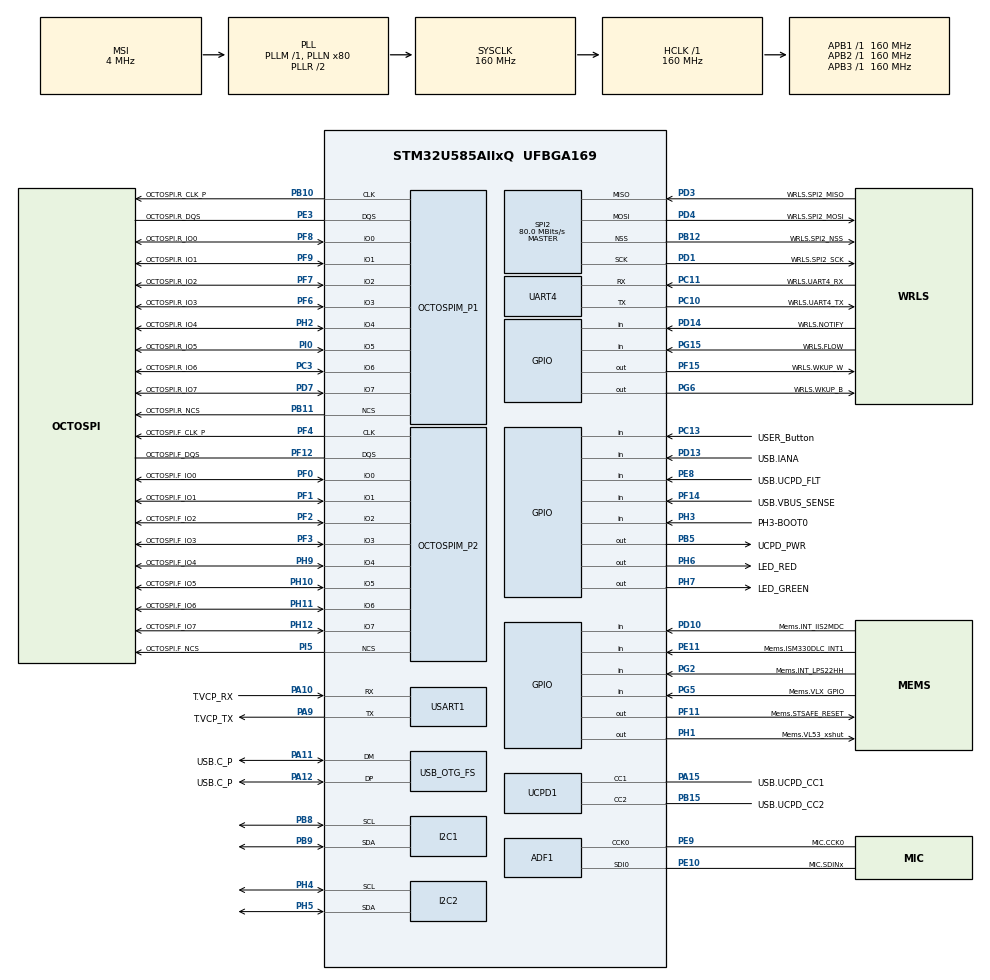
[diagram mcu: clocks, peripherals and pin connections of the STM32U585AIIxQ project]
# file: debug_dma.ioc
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CORTEX_M33_NS.userName=CORTEX_M33
GPDMA1.DESTINC_GPDMACH0=DMA_DINC_INCREMENTED
GPDMA1.SRCINC_GPDMACH0=DMA_SINC_INCREMENTED
I2C1.Timing=0x30909DEC
I2C2.Timing=0x30909DEC
Mcu.Family=STM32U5
Mcu.Name=STM32U585AIIxQ
Mcu.Package=UFBGA169
NVIC.GPDMA1_Channel0_IRQn=true\:0\:0\:false\:false\:true\:true\:true\:true
NVIC.PriorityGroup=NVIC_PRIORITYGROUP_4
OCTOSPI1.ChipSelectBoundary=10
OCTOSPI1.ClockPrescaler=2
OCTOSPI1.DelayBlockBypass=HAL_OSPI_DELAY_BLOCK_USED
OCTOSPI1.DelayHoldQuarterCycle=HAL_OSPI_DHQC_ENABLE
OCTOSPI1.DeviceSize=23
OCTOSPI1.MemoryType=HAL_OSPI_MEMTYPE_APMEMORY
OCTOSPI1.Refresh=100
OCTOSPI2.ChipSelectBoundary=0
OCTOSPI2.ChipSelectHighTime=2
OCTOSPI2.ClockPrescaler=4
OCTOSPI2.DelayBlockBypass=HAL_OSPI_DELAY_BLOCK_USED
OCTOSPI2.DelayHoldQuarterCycle=HAL_OSPI_DHQC_ENABLE
OCTOSPI2.DeviceSize=26
OCTOSPI2.FifoThreshold=4
OCTOSPI2.MemoryType=HAL_OSPI_MEMTYPE_MACRONIX
PA10.GPIO_Label=T.VCP_RX
PA10.Mode=Asynchronous
PA10.Signal=USART1_RX
PA11.GPIO_Label=USB.C_P
PA11.Mode=Device_Only
PA11.Signal=USB_OTG_FS_DM
PA12.GPIO_Label=USB.C_P
PA12.Mode=Device_Only
PA12.Signal=USB_OTG_FS_DP
PA13\ (JTMS/SWDIO).GPIO_Label=T.SWDIO
PA13\ (JTMS/SWDIO).Mode=Trace_Asynchronous_SW
PA13\ (JTMS/SWDIO).Signal=DEBUG_JTMS-SWDIO
PA14\ (JTCK/SWCLK).GPIO_Label=T.SWCLK
PA14\ (JTCK/SWCLK).Mode=Trace_Asynchronous_SW
PA14\ (JTCK/SWCLK).Signal=DEBUG_JTCK-SWCLK
PA15\ (JTDI).GPIO_Label=USB.UCPD_CC1
PA15\ (JTDI).Mode=Dual_Role_AllSignals
PA15\ (JTDI).Signal=UCPD1_CC1
PA9.GPIO_Label=T.VCP_TX
PA9.Mode=Asynchronous
PA9.Signal=USART1_TX
PB1.GPIO_Label=MIC.SDIN0
PB1.Signal=MDF1_SDI0
PB10.GPIO_Label=OCTOSPI.R_CLK_P
PB10.Mode=O1_P1_CLK
PB10.Signal=OCTOSPIM_P1_CLK
PB11.GPIO_Label=OCTOSPI.R_NCS
PB11.Mode=OCTOSPI1_Port1_NCS
PB11.Signal=OCTOSPIM_P1_NCS
PB12.GPIO_Label=WRLS.SPI2_NSS
PB12.Mode=NSS_Signal_Hard_Output
PB12.Signal=SPI2_NSS
PB15.GPIO_Label=USB.UCPD_CC2
PB15.Mode=Dual_Role_AllSignals
PB15.Signal=UCPD1_CC2
PB3\ (JTDO/TRACESWO).GPIO_Label=T.SWO
PB3\ (JTDO/TRACESWO).Mode=Trace_Asynchronous_SW
PB3\ (JTDO/TRACESWO).Signal=DEBUG_JTDO-SWO
PB5.GPIO_Label=UCPD_PWR
PB5.Signal=GPIO_Output
PB8.Mode=I2C
PB8.Signal=I2C1_SCL
PB9.Mode=I2C
PB9.Signal=I2C1_SDA
PC10.GPIO_Label=WRLS.UART4_TX
PC10.Mode=Asynchronous
PC10.Signal=UART4_TX
PC11.GPIO_Label=WRLS.UART4_RX
PC11.Mode=Asynchronous
PC11.Signal=UART4_RX
PC13.GPIO_Label=USER_Button
PC13.Signal=GPIO_Input
PC14-OSC32_IN\ (PC14).GPIO_Label=PC14-OSC32_IN
PC14-OSC32_IN\ (PC14).Mode=LSE-External-Oscillator
PC14-OSC32_IN\ (PC14).Signal=RCC_OSC32_IN
PC15-OSC32_OUT\ (PC15).GPIO_Label=PC15-OSC32_OUT
PC15-OSC32_OUT\ (PC15).Mode=LSE-External-Oscillator
PC15-OSC32_OUT\ (PC15).Signal=RCC_OSC32_OUT
PC3.GPIO_Label=OCTOSPI.R_IO6
PC3.Mode=OCTOSPI1_IOH_Port1H
PC3.Signal=OCTOSPIM_P1_IO6
PD1.GPIO_Label=WRLS.SPI2_SCK
PD1.Mode=Full_Duplex_Master
PD1.Signal=SPI2_SCK
PD10.GPIO_Label=Mems.INT_IIS2MDC
PD10.Signal=GPIO_Input
PD13.GPIO_Label=USB.IANA
PD13.Signal=GPIO_Input
PD14.GPIO_Label=WRLS.NOTIFY
PD14.Signal=GPIO_Input
PD3.GPIO_Label=WRLS.SPI2_MISO
PD3.Mode=Full_Duplex_Master
PD3.Signal=SPI2_MISO
PD4.GPIO_Label=WRLS.SPI2_MOSI
PD4.Mode=Full_Duplex_Master
PD4.Signal=SPI2_MOSI
PD7.GPIO_Label=OCTOSPI.R_IO7
PD7.Mode=OCTOSPI1_IOH_Port1H
PD7.Signal=OCTOSPIM_P1_IO7
PE10.GPIO_Label=MIC.SDINx
PE10.Mode=MOD_ADF_CCK
PE10.Signal=ADF1_SDI0
PE11.GPIO_Label=Mems.ISM330DLC_INT1
PE11.Signal=GPIO_Input
PE3.GPIO_Label=OCTOSPI.R_DQS
PE3.Mode=OCTOSPI1_Port1_DQS
PE3.Signal=OCTOSPIM_P1_DQS
PE8.GPIO_Label=USB.UCPD_FLT
PE8.Signal=GPIO_Input
PE9.GPIO_Label=MIC.CCK0
PE9.Mode=MOD_MDF_CCK0
PE9.Signal=ADF1_CCK0
PF0.GPIO_Label=OCTOSPI.F_IO0
PF0.Mode=OCTOSPI2_IOL_Port2L
PF0.Signal=OCTOSPIM_P2_IO0
PF1.GPIO_Label=OCTOSPI.F_IO1
PF1.Mode=OCTOSPI2_IOL_Port2L
PF1.Signal=OCTOSPIM_P2_IO1
PF10.GPIO_Label=MIC.CCK1
PF10.Signal=MDF1_CCK1
PF11.GPIO_Label=Mems.STSAFE_RESET
PF11.Signal=GPIO_Output
PF12.GPIO_Label=OCTOSPI.F_DQS
PF12.Mode=OCTOSPI2_Port2_DQS
PF12.Signal=OCTOSPIM_P2_DQS
PF14.GPIO_Label=USB.VBUS_SENSE
PF14.Signal=GPIO_Input
PF15.GPIO_Label=WRLS.WKUP_W
PF15.Signal=GPIO_Output
PF2.GPIO_Label=OCTOSPI.F_IO2
PF2.Mode=OCTOSPI2_IOL_Port2L
PF2.Signal=OCTOSPIM_P2_IO2
PF3.GPIO_Label=OCTOSPI.F_IO3
PF3.Mode=OCTOSPI2_IOL_Port2L
PF3.Signal=OCTOSPIM_P2_IO3
PF4.GPIO_Label=OCTOSPI.F_CLK_P
PF4.Mode=O2_P2_CLK
PF4.Signal=OCTOSPIM_P2_CLK
PF6.GPIO_Label=OCTOSPI.R_IO3
PF6.Mode=OCTOSPI1_IOL_Port1L
PF6.Signal=OCTOSPIM_P1_IO3
PF7.GPIO_Label=OCTOSPI.R_IO2
PF7.Mode=OCTOSPI1_IOL_Port1L
PF7.Signal=OCTOSPIM_P1_IO2
PF8.GPIO_Label=OCTOSPI.R_IO0
PF8.Mode=OCTOSPI1_IOL_Port1L
PF8.Signal=OCTOSPIM_P1_IO0
PF9.GPIO_Label=OCTOSPI.R_IO1
PF9.Mode=OCTOSPI1_IOL_Port1L
PF9.Signal=OCTOSPIM_P1_IO1
PG15.GPIO_Label=WRLS.FLOW
PG15.Signal=GPIO_Input
PG2.GPIO_Label=Mems.INT_LPS22HH
PG2.Signal=GPIO_Input
PG5.GPIO_Label=Mems.VLX_GPIO
PG5.Signal=GPIO_Input
PG6.GPIO_Label=WRLS.WKUP_B
PG6.Signal=GPIO_Output
PH1-OSC_OUT\ (PH1).GPIO_Label=Mems.VL53_xshut
PH1-OSC_OUT\ (PH1).Signal=GPIO_Output
PH10.GPIO_Label=OCTOSPI.F_IO5
PH10.Mode=OCTOSPI2_IOH_Port2H
PH10.Signal=OCTOSPIM_P2_IO5
PH11.GPIO_Label=OCTOSPI.F_IO6
PH11.Mode=OCTOSPI2_IOH_Port2H
PH11.Signal=OCTOSPIM_P2_IO6
PH12.GPIO_Label=OCTOSPI.F_IO7
PH12.Mode=OCTOSPI2_IOH_Port2H
PH12.Signal=OCTOSPIM_P2_IO7
PH2.GPIO_Label=OCTOSPI.R_IO4
PH2.Mode=OCTOSPI1_IOH_Port1H
PH2.Signal=OCTOSPIM_P1_IO4
PH3-BOOT0.GPIO_Label=PH3-BOOT0
PH3-BOOT0.Signal=GPIO_Input
PH4.Mode=I2C
PH4.Signal=I2C2_SCL
PH5.Mode=I2C
PH5.Signal=I2C2_SDA
PH6.GPIO_Label=LED_RED
PH6.Signal=GPIO_Output
PH7.GPIO_Label=LED_GREEN
PH7.Signal=GPIO_Output
PH9.GPIO_Label=OCTOSPI.F_IO4
PH9.Mode=OCTOSPI2_IOH_Port2H
PH9.Signal=OCTOSPIM_P2_IO4
PI0.GPIO_Label=OCTOSPI.R_IO5
PI0.Mode=OCTOSPI1_IOH_Port1H
PI0.Signal=OCTOSPIM_P1_IO5
PI5.GPIO_Label=OCTOSPI.F_NCS
PI5.Mode=OCTOSPI2_Port2_NCS
PI5.Signal=OCTOSPIM_P2_NCS
PWR.PowerMode=PWR_SMPS_SUPPLY
ProjectManager.HeapSize=0x200
ProjectManager.StackSize=0x400
ProjectManager.TargetToolchain=CMake
RCC.ADCFreq_Value=16000000
RCC.AHBFreq_Value=160000000
RCC.APB1Freq_Value=160000000
RCC.APB1TimFreq_Value=160000000
RCC.APB2Freq_Value=160000000
RCC.APB2TimFreq_Value=160000000
RCC.APB3Freq_Value=160000000
RCC.CortexFreq_Value=160000000
RCC.DACCLockSelectionVirtual=RCC_DAC1CLKSOURCE_LSI
RCC.EPOD_VALUE=4000000
RCC.HCLKFreq_Value=160000000
RCC.HSE_VALUE=16000000
RCC.HSI48_VALUE=48000000
RCC.HSI_VALUE=16000000
RCC.LSIDIV_VALUE=32000
RCC.MSI_VALUE=4000000
RCC.PLLN=80
RCC.SYSCLKFreq_VALUE=160000000
RCC.SYSCLKSource=RCC_SYSCLKSOURCE_PLLCLK
RCC.USBFreq_Value=48000000
RCC.VCOOutputFreq_Value=320000000
SPI2.CalculateBaudRate=80.0 MBits/s
SPI2.Direction=SPI_DIRECTION_2LINES
SPI2.Mode=SPI_MODE_MASTER
SPI2.VirtualNSS=VM_NSSHARD
SPI2.VirtualType=VM_MASTER
USART1.VirtualMode-Asynchronous=VM_ASYNC
USB_OTG_FS.VirtualMode=Device_Only
VP_GPDMA1_VS_GPDMACH0.Mode=SIMPLEREQUEST_GPDMACH0
VP_ICACHE_VS_ICACHE.Mode=DirectMappedCache
VP_LPBAMQUEUE_VS_QUEUE.Mode=QUEUEMODE
VP_LPBAM_VS_SIG1.Mode=SmartRun
VP_LPBAM_VS_SIG4.Mode=LPDMA1
VP_MEMORYMAP_VS_MEMORYMAP.Mode=CurAppReg
VP_OCTOSPI1_VS_octo.Mode=octo_mode
VP_OCTOSPI2_VS_octo.Mode=octo_mode
VP_PWR_VS_DBSignals.Mode=DisableDeadBatterySignals
VP_PWR_VS_LPOM.Mode=PowerOptimisation
VP_PWR_VS_SECSignals.Mode=Security/Privilege
board=B-U585I-IOT02A

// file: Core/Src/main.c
/* USER CODE BEGIN Header */
/**
  ******************************************************************************
  * @file           : main.c
  * @brief          : Main program body
  ******************************************************************************
  * @attention
  *
  * Copyright (c) 2026 STMicroelectronics.
  * All rights reserved.
  *
  * This software is licensed under terms that can be found in the LICENSE file
  * in the root directory of this software component.
  * If no LICENSE file comes with this software, it is provided AS-IS.
  *
  ******************************************************************************
  */
/* USER CODE END Header */
#include "main.h"
#include "stm32u5xx_hal_dma.h"

/* USER CODE BEGIN Includes */
#include <string.h>
#include <stdint.h>
#include <stdio.h>
/* USER CODE END Includes */

MDF_HandleTypeDef AdfHandle0;
MDF_FilterConfigTypeDef AdfFilterConfig0;

DMA_HandleTypeDef handle_GPDMA1_Channel0;

I2C_HandleTypeDef hi2c1;
I2C_HandleTypeDef hi2c2;

OSPI_HandleTypeDef hospi1;
OSPI_HandleTypeDef hospi2;

SPI_HandleTypeDef hspi2;

UART_HandleTypeDef huart4;
UART_HandleTypeDef huart1;

PCD_HandleTypeDef hpcd_USB_OTG_FS;

/* USER CODE BEGIN PV */
static volatile uint8_t dma_done = 0;
static char internal_data[] = "CODEADBEEF";

typedef struct {
    char text[11]; // Enough space for internal_data and temrinating null byte
    uint32_t checksum;
} Record;

static Record rec;
static char formatted[64];

/* USER CODE END PV */

void SystemClock_Config(void);
static void SystemPower_Config(void);
static void MX_GPIO_Init(void);
static void MX_GPDMA1_Init(void);
static void MX_ADF1_Init(void);
static void MX_I2C1_Init(void);
static void MX_I2C2_Init(void);
static void MX_ICACHE_Init(void);
static void MX_OCTOSPI1_Init(void);
static void MX_OCTOSPI2_Init(void);
static void MX_SPI2_Init(void);
static void MX_UART4_Init(void);
static void MX_USART1_UART_Init(void);
static void MX_UCPD1_Init(void);
static void MX_USB_OTG_FS_PCD_Init(void);
/* USER CODE BEGIN PFP */
static void XferCpltCallback(DMA_HandleTypeDef *hdma);
/* USER CODE END PFP */

/* USER CODE BEGIN 0 */

/* Because we are safety conscious we want to verify that we copied the correct string
*/
static uint32_t checksum_string(const char *s)
{
    uint32_t sum = 0;
    size_t len = strlen(s);

    for (size_t i = 0; i < len; ++i) {
        sum += (uint8_t)s[i];
    }

    return sum;
}

static void dma_copy(void)
{
    dma_done = 0;

    /*
     * This is intended to behave like:
     *
     *   memcpy(rec.text, internal_data, strlen(internal_data));
     *
     * If the copied string is corrupted, check whether the DMA channel
     * configuration really matches a byte-wise char-buffer copy.
     */
    if (HAL_DMA_Start_IT(&handle_GPDMA1_Channel0,
                         (uint32_t)internal_data,
                         (uint32_t)rec.text,
                         strlen(internal_data)) != HAL_OK) {
        Error_Handler();
    }
}

static void process_record(void)
{
    /*
     * The checksum is computed after the DMA transfer completed.
     * If this fails, inspect rec.text in memory before changing this function.
     */
    rec.checksum = checksum_string(rec.text);

    if (rec.checksum != checksum_string(internal_data)) {
        Error_Handler();
    }

    sprintf(formatted, "Record: [%s]", rec.text);
}

static void uart_print(const char *s)
{
    HAL_UART_Transmit(&huart1, (uint8_t *)s, strlen(s), HAL_MAX_DELAY);
}

/* USER CODE END 0 */

int main(void)
{

  /* MCU Configuration--------------------------------------------------------*/

  /* Reset of all peripherals, Initializes the Flash interface and the Systick. */
  HAL_Init();

  /* Configure the System Power */
  SystemPower_Config();

  /* Configure the system clock */
  SystemClock_Config();

  /* Initialize all configured peripherals */
  MX_GPIO_Init();
  MX_GPDMA1_Init();
  MX_ADF1_Init();
  MX_I2C1_Init();
  MX_I2C2_Init();
  MX_ICACHE_Init();
  MX_OCTOSPI1_Init();
  MX_OCTOSPI2_Init();
  MX_SPI2_Init();
  MX_UART4_Init();
  MX_USART1_UART_Init();
  MX_UCPD1_Init();
  MX_USB_OTG_FS_PCD_Init();
  /* USER CODE BEGIN 2 */

  // memset(&rec, 0x41, sizeof(rec));
  // memset(guard, 'A', sizeof(guard));

  dma_copy();

  /* USER CODE END 2 */

  /* Infinite loop */
  while (1)
  {
    if(dma_done) {
      process_record();
      uart_print("SUCCESS\r\n");
      return 0;
    }
  }
}

void SystemClock_Config(void)
{
  RCC_OscInitTypeDef RCC_OscInitStruct = {0};
  RCC_ClkInitTypeDef RCC_ClkInitStruct = {0};

  /** Configure the main internal regulator output voltage
  */
  if (HAL_PWREx_ControlVoltageScaling(PWR_REGULATOR_VOLTAGE_SCALE1) != HAL_OK)
  {
    Error_Handler();
  }

  /** Initializes the CPU, AHB and APB buses clocks
  */
  RCC_OscInitStruct.OscillatorType = RCC_OSCILLATORTYPE_HSI48|RCC_OSCILLATORTYPE_HSI
                              |RCC_OSCILLATORTYPE_MSI;
  RCC_OscInitStruct.HSIState = RCC_HSI_ON;
  RCC_OscInitStruct.HSI48State = RCC_HSI48_ON;
  RCC_OscInitStruct.HSICalibrationValue = RCC_HSICALIBRATION_DEFAULT;
  RCC_OscInitStruct.MSIState = RCC_MSI_ON;
  RCC_OscInitStruct.MSICalibrationValue = RCC_MSICALIBRATION_DEFAULT;
  RCC_OscInitStruct.MSIClockRange = RCC_MSIRANGE_4;
  RCC_OscInitStruct.PLL.PLLState = RCC_PLL_ON;
  RCC_OscInitStruct.PLL.PLLSource = RCC_PLLSOURCE_MSI;
  RCC_OscInitStruct.PLL.PLLMBOOST = RCC_PLLMBOOST_DIV1;
  RCC_OscInitStruct.PLL.PLLM = 1;
  RCC_OscInitStruct.PLL.PLLN = 80;
  RCC_OscInitStruct.PLL.PLLP = 2;
  RCC_OscInitStruct.PLL.PLLQ = 2;
  RCC_OscInitStruct.PLL.PLLR = 2;
  RCC_OscInitStruct.PLL.PLLRGE = RCC_PLLVCIRANGE_0;
  RCC_OscInitStruct.PLL.PLLFRACN = 0;
  if (HAL_RCC_OscConfig(&RCC_OscInitStruct) != HAL_OK)
  {
    Error_Handler();
  }

  /** Initializes the CPU, AHB and APB buses clocks
  */
  RCC_ClkInitStruct.ClockType = RCC_CLOCKTYPE_HCLK|RCC_CLOCKTYPE_SYSCLK
                              |RCC_CLOCKTYPE_PCLK1|RCC_CLOCKTYPE_PCLK2
                              |RCC_CLOCKTYPE_PCLK3;
  RCC_ClkInitStruct.SYSCLKSource = RCC_SYSCLKSOURCE_PLLCLK;
  RCC_ClkInitStruct.AHBCLKDivider = RCC_SYSCLK_DIV1;
  RCC_ClkInitStruct.APB1CLKDivider = RCC_HCLK_DIV1;
  RCC_ClkInitStruct.APB2CLKDivider = RCC_HCLK_DIV1;
  RCC_ClkInitStruct.APB3CLKDivider = RCC_HCLK_DIV1;

  if (HAL_RCC_ClockConfig(&RCC_ClkInitStruct, FLASH_LATENCY_4) != HAL_OK)
  {
    Error_Handler();
  }
}

/**
  * @brief Power Configuration
  * @retval None
  */
static void SystemPower_Config(void)
{
  HAL_PWREx_EnableVddIO2();

  /*
   * Switch to SMPS regulator instead of LDO
   */
  if (HAL_PWREx_ConfigSupply(PWR_SMPS_SUPPLY) != HAL_OK)
  {
    Error_Handler();
  }
}

static void MX_ADF1_Init(void)
{

  /**
    AdfHandle0 structure initialization and HAL_MDF_Init function call
  */
  AdfHandle0.Instance = ADF1_Filter0;
  AdfHandle0.Init.CommonParam.ProcClockDivider = 1;
  AdfHandle0.Init.CommonParam.OutputClock.Activation = DISABLE;
  AdfHandle0.Init.SerialInterface.Activation = ENABLE;
  AdfHandle0.Init.SerialInterface.Mode = MDF_SITF_LF_MASTER_SPI_MODE;
  AdfHandle0.Init.SerialInterface.ClockSource = MDF_SITF_CCK0_SOURCE;
  AdfHandle0.Init.SerialInterface.Threshold = 4;
  AdfHandle0.Init.FilterBistream = MDF_BITSTREAM0_FALLING;
  if (HAL_MDF_Init(&AdfHandle0) != HAL_OK)
  {
    Error_Handler();
  }

  /**
    AdfFilterConfig0 structure initialization

    WARNING : only structure is filled, no specific init function call for filter
  */
  AdfFilterConfig0.DataSource = MDF_DATA_SOURCE_BSMX;
  AdfFilterConfig0.Delay = 0;
  AdfFilterConfig0.CicMode = MDF_ONE_FILTER_SINC4;
  AdfFilterConfig0.DecimationRatio = 2;
  AdfFilterConfig0.Gain = 0;
  AdfFilterConfig0.ReshapeFilter.Activation = DISABLE;
  AdfFilterConfig0.HighPassFilter.Activation = DISABLE;
  AdfFilterConfig0.SoundActivity.Activation = DISABLE;
  AdfFilterConfig0.AcquisitionMode = MDF_MODE_ASYNC_CONT;
  AdfFilterConfig0.FifoThreshold = MDF_FIFO_THRESHOLD_NOT_EMPTY;
  AdfFilterConfig0.DiscardSamples = 0;

}

static void MX_GPDMA1_Init(void)
{

  /* Peripheral clock enable */
  __HAL_RCC_GPDMA1_CLK_ENABLE();

  /* GPDMA1 interrupt Init */
    HAL_NVIC_SetPriority(GPDMA1_Channel0_IRQn, 0, 0);
    HAL_NVIC_EnableIRQ(GPDMA1_Channel0_IRQn);

  handle_GPDMA1_Channel0.Instance = GPDMA1_Channel0;
  handle_GPDMA1_Channel0.Init.Request = DMA_REQUEST_SW;
  handle_GPDMA1_Channel0.Init.BlkHWRequest = DMA_BREQ_SINGLE_BURST;
  handle_GPDMA1_Channel0.Init.Direction = DMA_MEMORY_TO_MEMORY;
  handle_GPDMA1_Channel0.Init.SrcInc = DMA_SINC_INCREMENTED;
  handle_GPDMA1_Channel0.Init.DestInc = DMA_DINC_INCREMENTED;
  handle_GPDMA1_Channel0.Init.SrcDataWidth = DMA_SRC_DATAWIDTH_BYTE;
  handle_GPDMA1_Channel0.Init.DestDataWidth = DMA_DEST_DATAWIDTH_BYTE;
  handle_GPDMA1_Channel0.Init.Priority = DMA_LOW_PRIORITY_LOW_WEIGHT;
  handle_GPDMA1_Channel0.Init.SrcBurstLength = 1;
  handle_GPDMA1_Channel0.Init.DestBurstLength = 1;
  handle_GPDMA1_Channel0.Init.TransferAllocatedPort = DMA_SRC_ALLOCATED_PORT0|DMA_DEST_ALLOCATED_PORT0;
  handle_GPDMA1_Channel0.Init.TransferEventMode = DMA_TCEM_BLOCK_TRANSFER;
  handle_GPDMA1_Channel0.Init.Mode = DMA_NORMAL;
  if (HAL_DMA_Init(&handle_GPDMA1_Channel0) != HAL_OK)
  {
    Error_Handler();
  }
  if (HAL_DMA_ConfigChannelAttributes(&handle_GPDMA1_Channel0, DMA_CHANNEL_NPRIV) != HAL_OK)
  {
    Error_Handler();
  }
  /* USER CODE BEGIN GPDMA1_Init 2 */
  HAL_DMA_RegisterCallback(&handle_GPDMA1_Channel0, HAL_DMA_XFER_CPLT_CB_ID, XferCpltCallback);
  /* USER CODE END GPDMA1_Init 2 */

}

static void MX_I2C1_Init(void)
{

  hi2c1.Instance = I2C1;
  hi2c1.Init.Timing = 0x30909DEC;
  hi2c1.Init.OwnAddress1 = 0;
  hi2c1.Init.AddressingMode = I2C_ADDRESSINGMODE_7BIT;
  hi2c1.Init.DualAddressMode = I2C_DUALADDRESS_DISABLE;
  hi2c1.Init.OwnAddress2 = 0;
  hi2c1.Init.OwnAddress2Masks = I2C_OA2_NOMASK;
  hi2c1.Init.GeneralCallMode = I2C_GENERALCALL_DISABLE;
  hi2c1.Init.NoStretchMode = I2C_NOSTRETCH_DISABLE;
  if (HAL_I2C_Init(&hi2c1) != HAL_OK)
  {
    Error_Handler();
  }

  /** Configure Analogue filter
  */
  if (HAL_I2CEx_ConfigAnalogFilter(&hi2c1, I2C_ANALOGFILTER_ENABLE) != HAL_OK)
  {
    Error_Handler();
  }

  /** Configure Digital filter
  */
  if (HAL_I2CEx_ConfigDigitalFilter(&hi2c1, 0) != HAL_OK)
  {
    Error_Handler();
  }

}

static void MX_I2C2_Init(void)
{

  hi2c2.Instance = I2C2;
  hi2c2.Init.Timing = 0x30909DEC;
  hi2c2.Init.OwnAddress1 = 0;
  hi2c2.Init.AddressingMode = I2C_ADDRESSINGMODE_7BIT;
  hi2c2.Init.DualAddressMode = I2C_DUALADDRESS_DISABLE;
  hi2c2.Init.OwnAddress2 = 0;
  hi2c2.Init.OwnAddress2Masks = I2C_OA2_NOMASK;
  hi2c2.Init.GeneralCallMode = I2C_GENERALCALL_DISABLE;
  hi2c2.Init.NoStretchMode = I2C_NOSTRETCH_DISABLE;
  if (HAL_I2C_Init(&hi2c2) != HAL_OK)
  {
    Error_Handler();
  }

  /** Configure Analogue filter
  */
  if (HAL_I2CEx_ConfigAnalogFilter(&hi2c2, I2C_ANALOGFILTER_ENABLE) != HAL_OK)
  {
    Error_Handler();
  }

  /** Configure Digital filter
  */
  if (HAL_I2CEx_ConfigDigitalFilter(&hi2c2, 0) != HAL_OK)
  {
    Error_Handler();
  }

}

static void MX_ICACHE_Init(void)
{

  /** Enable instruction cache in 1-way (direct mapped cache)
  */
  if (HAL_ICACHE_ConfigAssociativityMode(ICACHE_1WAY) != HAL_OK)
  {
    Error_Handler();
  }
  if (HAL_ICACHE_Enable() != HAL_OK)
  {
    Error_Handler();
  }

}

static void MX_OCTOSPI1_Init(void)
{

  OSPIM_CfgTypeDef sOspiManagerCfg = {0};
  HAL_OSPI_DLYB_CfgTypeDef HAL_OSPI_DLYB_Cfg_Struct = {0};

  /* OCTOSPI1 parameter configuration*/
  hospi1.Instance = OCTOSPI1;
  hospi1.Init.FifoThreshold = 1;
  hospi1.Init.DualQuad = HAL_OSPI_DUALQUAD_DISABLE;
  hospi1.Init.MemoryType = HAL_OSPI_MEMTYPE_APMEMORY;
  hospi1.Init.DeviceSize = 23;
  hospi1.Init.ChipSelectHighTime = 1;
  hospi1.Init.FreeRunningClock = HAL_OSPI_FREERUNCLK_DISABLE;
  hospi1.Init.ClockMode = HAL_OSPI_CLOCK_MODE_0;
  hospi1.Init.WrapSize = HAL_OSPI_WRAP_NOT_SUPPORTED;
  hospi1.Init.ClockPrescaler = 2;
  hospi1.Init.SampleShifting = HAL_OSPI_SAMPLE_SHIFTING_NONE;
  hospi1.Init.DelayHoldQuarterCycle = HAL_OSPI_DHQC_ENABLE;
  hospi1.Init.ChipSelectBoundary = 10;
  hospi1.Init.DelayBlockBypass = HAL_OSPI_DELAY_BLOCK_USED;
  hospi1.Init.MaxTran = 0;
  hospi1.Init.Refresh = 100;
  if (HAL_OSPI_Init(&hospi1) != HAL_OK)
  {
    Error_Handler();
  }
  sOspiManagerCfg.ClkPort = 1;
  sOspiManagerCfg.DQSPort = 1;
  sOspiManagerCfg.NCSPort = 1;
  sOspiManagerCfg.IOLowPort = HAL_OSPIM_IOPORT_1_LOW;
  sOspiManagerCfg.IOHighPort = HAL_OSPIM_IOPORT_1_HIGH;
  if (HAL_OSPIM_Config(&hospi1, &sOspiManagerCfg, HAL_OSPI_TIMEOUT_DEFAULT_VALUE) != HAL_OK)
  {
    Error_Handler();
  }
  HAL_OSPI_DLYB_Cfg_Struct.Units = 0;
  HAL_OSPI_DLYB_Cfg_Struct.PhaseSel = 0;
  if (HAL_OSPI_DLYB_SetConfig(&hospi1, &HAL_OSPI_DLYB_Cfg_Struct) != HAL_OK)
  {
    Error_Handler();
  }

}

static void MX_OCTOSPI2_Init(void)
{

  OSPIM_CfgTypeDef sOspiManagerCfg = {0};
  HAL_OSPI_DLYB_CfgTypeDef HAL_OSPI_DLYB_Cfg_Struct = {0};

  /* OCTOSPI2 parameter configuration*/
  hospi2.Instance = OCTOSPI2;
  hospi2.Init.FifoThreshold = 4;
  hospi2.Init.DualQuad = HAL_OSPI_DUALQUAD_DISABLE;
  hospi2.Init.MemoryType = HAL_OSPI_MEMTYPE_MACRONIX;
  hospi2.Init.DeviceSize = 26;
  hospi2.Init.ChipSelectHighTime = 2;
  hospi2.Init.FreeRunningClock = HAL_OSPI_FREERUNCLK_DISABLE;
  hospi2.Init.ClockMode = HAL_OSPI_CLOCK_MODE_0;
  hospi2.Init.WrapSize = HAL_OSPI_WRAP_NOT_SUPPORTED;
  hospi2.Init.ClockPrescaler = 4;
  hospi2.Init.SampleShifting = HAL_OSPI_SAMPLE_SHIFTING_NONE;
  hospi2.Init.DelayHoldQuarterCycle = HAL_OSPI_DHQC_ENABLE;
  hospi2.Init.ChipSelectBoundary = 0;
  hospi2.Init.DelayBlockBypass = HAL_OSPI_DELAY_BLOCK_USED;
  hospi2.Init.MaxTran = 0;
  hospi2.Init.Refresh = 0;
  if (HAL_OSPI_Init(&hospi2) != HAL_OK)
  {
    Error_Handler();
  }
  sOspiManagerCfg.ClkPort = 2;
  sOspiManagerCfg.DQSPort = 2;
  sOspiManagerCfg.NCSPort = 2;
  sOspiManagerCfg.IOLowPort = HAL_OSPIM_IOPORT_2_LOW;
  sOspiManagerCfg.IOHighPort = HAL_OSPIM_IOPORT_2_HIGH;
  if (HAL_OSPIM_Config(&hospi2, &sOspiManagerCfg, HAL_OSPI_TIMEOUT_DEFAULT_VALUE) != HAL_OK)
  {
    Error_Handler();
  }
  HAL_OSPI_DLYB_Cfg_Struct.Units = 0;
  HAL_OSPI_DLYB_Cfg_Struct.PhaseSel = 0;
  if (HAL_OSPI_DLYB_SetConfig(&hospi2, &HAL_OSPI_DLYB_Cfg_Struct) != HAL_OK)
  {
    Error_Handler();
  }

}

static void MX_SPI2_Init(void)
{

  SPI_AutonomousModeConfTypeDef HAL_SPI_AutonomousMode_Cfg_Struct = {0};

  /* SPI2 parameter configuration*/
  hspi2.Instance = SPI2;
  hspi2.Init.Mode = SPI_MODE_MASTER;
  hspi2.Init.Direction = SPI_DIRECTION_2LINES;
  hspi2.Init.DataSize = SPI_DATASIZE_4BIT;
  hspi2.Init.CLKPolarity = SPI_POLARITY_LOW;
  hspi2.Init.CLKPhase = SPI_PHASE_1EDGE;
  hspi2.Init.NSS = SPI_NSS_HARD_OUTPUT;
  hspi2.Init.BaudRatePrescaler = SPI_BAUDRATEPRESCALER_2;
  hspi2.Init.FirstBit = SPI_FIRSTBIT_MSB;
  hspi2.Init.TIMode = SPI_TIMODE_DISABLE;
  hspi2.Init.CRCCalculation = SPI_CRCCALCULATION_DISABLE;
  hspi2.Init.CRCPolynomial = 0x7;
  hspi2.Init.NSSPMode = SPI_NSS_PULSE_ENABLE;
  hspi2.Init.NSSPolarity = SPI_NSS_POLARITY_LOW;
  hspi2.Init.FifoThreshold = SPI_FIFO_THRESHOLD_01DATA;
  hspi2.Init.MasterSSIdleness = SPI_MASTER_SS_IDLENESS_00CYCLE;
  hspi2.Init.MasterInterDataIdleness = SPI_MASTER_INTERDATA_IDLENESS_00CYCLE;
  hspi2.Init.MasterReceiverAutoSusp = SPI_MASTER_RX_AUTOSUSP_DISABLE;
  hspi2.Init.MasterKeepIOState = SPI_MASTER_KEEP_IO_STATE_DISABLE;
  hspi2.Init.IOSwap = SPI_IO_SWAP_DISABLE;
  hspi2.Init.ReadyMasterManagement = SPI_RDY_MASTER_MANAGEMENT_INTERNALLY;
  hspi2.Init.ReadyPolarity = SPI_RDY_POLARITY_HIGH;
  if (HAL_SPI_Init(&hspi2) != HAL_OK)
  {
    Error_Handler();
  }
  HAL_SPI_AutonomousMode_Cfg_Struct.TriggerState = SPI_AUTO_MODE_DISABLE;
  HAL_SPI_AutonomousMode_Cfg_Struct.TriggerSelection = SPI_GRP1_GPDMA_CH0_TCF_TRG;
  HAL_SPI_AutonomousMode_Cfg_Struct.TriggerPolarity = SPI_TRIG_POLARITY_RISING;
  if (HAL_SPIEx_SetConfigAutonomousMode(&hspi2, &HAL_SPI_AutonomousMode_Cfg_Struct) != HAL_OK)
  {
    Error_Handler();
  }

}

static void MX_UART4_Init(void)
{

  huart4.Instance = UART4;
  huart4.Init.BaudRate = 115200;
  huart4.Init.WordLength = UART_WORDLENGTH_8B;
  huart4.Init.StopBits = UART_STOPBITS_1;
  huart4.Init.Parity = UART_PARITY_NONE;
  huart4.Init.Mode = UART_MODE_TX_RX;
  huart4.Init.HwFlowCtl = UART_HWCONTROL_NONE;
  huart4.Init.OverSampling = UART_OVERSAMPLING_16;
  huart4.Init.OneBitSampling = UART_ONE_BIT_SAMPLE_DISABLE;
  huart4.Init.ClockPrescaler = UART_PRESCALER_DIV1;
  huart4.AdvancedInit.AdvFeatureInit = UART_ADVFEATURE_NO_INIT;
  if (HAL_UART_Init(&huart4) != HAL_OK)
  {
    Error_Handler();
  }
  if (HAL_UARTEx_SetTxFifoThreshold(&huart4, UART_TXFIFO_THRESHOLD_1_8) != HAL_OK)
  {
    Error_Handler();
  }
  if (HAL_UARTEx_SetRxFifoThreshold(&huart4, UART_RXFIFO_THRESHOLD_1_8) != HAL_OK)
  {
    Error_Handler();
  }
  if (HAL_UARTEx_DisableFifoMode(&huart4) != HAL_OK)
  {
    Error_Handler();
  }

}

static void MX_USART1_UART_Init(void)
{

  huart1.Instance = USART1;
  huart1.Init.BaudRate = 115200;
  huart1.Init.WordLength = UART_WORDLENGTH_8B;
  huart1.Init.StopBits = UART_STOPBITS_1;
  huart1.Init.Parity = UART_PARITY_NONE;
  huart1.Init.Mode = UART_MODE_TX_RX;
  huart1.Init.HwFlowCtl = UART_HWCONTROL_NONE;
  huart1.Init.OverSampling = UART_OVERSAMPLING_16;
  huart1.Init.OneBitSampling = UART_ONE_BIT_SAMPLE_DISABLE;
  huart1.Init.ClockPrescaler = UART_PRESCALER_DIV1;
  huart1.AdvancedInit.AdvFeatureInit = UART_ADVFEATURE_NO_INIT;
  if (HAL_UART_Init(&huart1) != HAL_OK)
  {
    Error_Handler();
  }
  if (HAL_UARTEx_SetTxFifoThreshold(&huart1, UART_TXFIFO_THRESHOLD_1_8) != HAL_OK)
  {
    Error_Handler();
  }
  if (HAL_UARTEx_SetRxFifoThreshold(&huart1, UART_RXFIFO_THRESHOLD_1_8) != HAL_OK)
  {
    Error_Handler();
  }
  if (HAL_UARTEx_DisableFifoMode(&huart1) != HAL_OK)
  {
    Error_Handler();
  }

}

static void MX_UCPD1_Init(void)
{

  LL_GPIO_InitTypeDef GPIO_InitStruct = {0};

  /* Peripheral clock enable */
  LL_APB1_GRP2_EnableClock(LL_APB1_GRP2_PERIPH_UCPD1);

  LL_AHB2_GRP1_EnableClock(LL_AHB2_GRP1_PERIPH_GPIOA);
  LL_AHB2_GRP1_EnableClock(LL_AHB2_GRP1_PERIPH_GPIOB);
  /**UCPD1 GPIO Configuration
  PA15 (JTDI)   ------> UCPD1_CC1
  PB15   ------> UCPD1_CC2
  */
  GPIO_InitStruct.Pin = LL_GPIO_PIN_15;
  GPIO_InitStruct.Mode = LL_GPIO_MODE_ANALOG;
  GPIO_InitStruct.Pull = LL_GPIO_PULL_NO;
  LL_GPIO_Init(GPIOA, &GPIO_InitStruct);

  GPIO_InitStruct.Pin = LL_GPIO_PIN_15;
  GPIO_InitStruct.Mode = LL_GPIO_MODE_ANALOG;
  GPIO_InitStruct.Pull = LL_GPIO_PULL_NO;
  LL_GPIO_Init(GPIOB, &GPIO_InitStruct);

}

static void MX_USB_OTG_FS_PCD_Init(void)
{

  hpcd_USB_OTG_FS.Instance = USB_OTG_FS;
  hpcd_USB_OTG_FS.Init.dev_endpoints = 6;
  hpcd_USB_OTG_FS.Init.speed = PCD_SPEED_FULL;
  hpcd_USB_OTG_FS.Init.phy_itface = PCD_PHY_EMBEDDED;
  hpcd_USB_OTG_FS.Init.Sof_enable = DISABLE;
  hpcd_USB_OTG_FS.Init.low_power_enable = DISABLE;
  hpcd_USB_OTG_FS.Init.lpm_enable = DISABLE;
  hpcd_USB_OTG_FS.Init.battery_charging_enable = DISABLE;
  hpcd_USB_OTG_FS.Init.use_dedicated_ep1 = DISABLE;
  hpcd_USB_OTG_FS.Init.vbus_sensing_enable = DISABLE;
  hpcd_USB_OTG_FS.Init.dma_enable = DISABLE;
  if (HAL_PCD_Init(&hpcd_USB_OTG_FS) != HAL_OK)
  {
    Error_Handler();
  }

}

static void MX_GPIO_Init(void)
{
  GPIO_InitTypeDef GPIO_InitStruct = {0};

  /* GPIO Ports Clock Enable */
  __HAL_RCC_GPIOG_CLK_ENABLE();
  __HAL_RCC_GPIOC_CLK_ENABLE();
  __HAL_RCC_GPIOA_CLK_ENABLE();
  __HAL_RCC_GPIOI_CLK_ENABLE();
  __HAL_RCC_GPIOH_CLK_ENABLE();
  __HAL_RCC_GPIOB_CLK_ENABLE();
  __HAL_RCC_GPIOD_CLK_ENABLE();
  __HAL_RCC_GPIOE_CLK_ENABLE();
  __HAL_RCC_GPIOF_CLK_ENABLE();

  /*Configure GPIO pin Output Level */
  HAL_GPIO_WritePin(UCPD_PWR_GPIO_Port, UCPD_PWR_Pin, GPIO_PIN_RESET);

  /*Configure GPIO pin Output Level */
  HAL_GPIO_WritePin(GPIOH, LED_RED_Pin|LED_GREEN_Pin|Mems_VL53_xshut_Pin, GPIO_PIN_RESET);

  /*Configure GPIO pin Output Level */
  HAL_GPIO_WritePin(WRLS_WKUP_B_GPIO_Port, WRLS_WKUP_B_Pin, GPIO_PIN_RESET);

  /*Configure GPIO pin Output Level */
  HAL_GPIO_WritePin(GPIOF, Mems_STSAFE_RESET_Pin|WRLS_WKUP_W_Pin, GPIO_PIN_RESET);

  /*Configure GPIO pins : WRLS_FLOW_Pin Mems_VLX_GPIO_Pin Mems_INT_LPS22HH_Pin */
  GPIO_InitStruct.Pin = WRLS_FLOW_Pin|Mems_VLX_GPIO_Pin|Mems_INT_LPS22HH_Pin;
  GPIO_InitStruct.Mode = GPIO_MODE_INPUT;
  GPIO_InitStruct.Pull = GPIO_NOPULL;
  HAL_GPIO_Init(GPIOG, &GPIO_InitStruct);

  /*Configure GPIO pin : PH3_BOOT0_Pin */
  GPIO_InitStruct.Pin = PH3_BOOT0_Pin;
  GPIO_InitStruct.Mode = GPIO_MODE_INPUT;
  GPIO_InitStruct.Pull = GPIO_NOPULL;
  HAL_GPIO_Init(PH3_BOOT0_GPIO_Port, &GPIO_InitStruct);

  /*Configure GPIO pin : UCPD_PWR_Pin */
  GPIO_InitStruct.Pin = UCPD_PWR_Pin;
  GPIO_InitStruct.Mode = GPIO_MODE_OUTPUT_PP;
  GPIO_InitStruct.Pull = GPIO_NOPULL;
  GPIO_InitStruct.Speed = GPIO_SPEED_FREQ_LOW;
  HAL_GPIO_Init(UCPD_PWR_GPIO_Port, &GPIO_InitStruct);

  /*Configure GPIO pin : USER_Button_Pin */
  GPIO_InitStruct.Pin = USER_Button_Pin;
  GPIO_InitStruct.Mode = GPIO_MODE_INPUT;
  GPIO_InitStruct.Pull = GPIO_NOPULL;
  HAL_GPIO_Init(USER_Button_GPIO_Port, &GPIO_InitStruct);

  /*Configure GPIO pins : LED_RED_Pin LED_GREEN_Pin Mems_VL53_xshut_Pin */
  GPIO_InitStruct.Pin = LED_RED_Pin|LED_GREEN_Pin|Mems_VL53_xshut_Pin;
  GPIO_InitStruct.Mode = GPIO_MODE_OUTPUT_PP;
  GPIO_InitStruct.Pull = GPIO_NOPULL;
  GPIO_InitStruct.Speed = GPIO_SPEED_FREQ_LOW;
  HAL_GPIO_Init(GPIOH, &GPIO_InitStruct);

  /*Configure GPIO pin : MIC_CCK1_Pin */
  GPIO_InitStruct.Pin = MIC_CCK1_Pin;
  GPIO_InitStruct.Mode = GPIO_MODE_AF_PP;
  GPIO_InitStruct.Pull = GPIO_NOPULL;
  GPIO_InitStruct.Speed = GPIO_SPEED_FREQ_LOW;
  GPIO_InitStruct.Alternate = GPIO_AF6_MDF1;
  HAL_GPIO_Init(MIC_CCK1_GPIO_Port, &GPIO_InitStruct);

  /*Configure GPIO pin : WRLS_WKUP_B_Pin */
  GPIO_InitStruct.Pin = WRLS_WKUP_B_Pin;
  GPIO_InitStruct.Mode = GPIO_MODE_OUTPUT_PP;
  GPIO_InitStruct.Pull = GPIO_NOPULL;
  GPIO_InitStruct.Speed = GPIO_SPEED_FREQ_LOW;
  HAL_GPIO_Init(WRLS_WKUP_B_GPIO_Port, &GPIO_InitStruct);

  /*Configure GPIO pins : WRLS_NOTIFY_Pin Mems_INT_IIS2MDC_Pin USB_IANA_Pin */
  GPIO_InitStruct.Pin = WRLS_NOTIFY_Pin|Mems_INT_IIS2MDC_Pin|USB_IANA_Pin;
  GPIO_InitStruct.Mode = GPIO_MODE_INPUT;
  GPIO_InitStruct.Pull = GPIO_NOPULL;
  HAL_GPIO_Init(GPIOD, &GPIO_InitStruct);

  /*Configure GPIO pins : USB_UCPD_FLT_Pin Mems_ISM330DLC_INT1_Pin */
  GPIO_InitStruct.Pin = USB_UCPD_FLT_Pin|Mems_ISM330DLC_INT1_Pin;
  GPIO_InitStruct.Mode = GPIO_MODE_INPUT;
  GPIO_InitStruct.Pull = GPIO_NOPULL;
  HAL_GPIO_Init(GPIOE, &GPIO_InitStruct);

  /*Configure GPIO pin : USB_VBUS_SENSE_Pin */
  GPIO_InitStruct.Pin = USB_VBUS_SENSE_Pin;
  GPIO_InitStruct.Mode = GPIO_MODE_INPUT;
  GPIO_InitStruct.Pull = GPIO_NOPULL;
  HAL_GPIO_Init(USB_VBUS_SENSE_GPIO_Port, &GPIO_InitStruct);

  /*Configure GPIO pins : Mems_STSAFE_RESET_Pin WRLS_WKUP_W_Pin */
  GPIO_InitStruct.Pin = Mems_STSAFE_RESET_Pin|WRLS_WKUP_W_Pin;
  GPIO_InitStruct.Mode = GPIO_MODE_OUTPUT_PP;
  GPIO_InitStruct.Pull = GPIO_NOPULL;
  GPIO_InitStruct.Speed = GPIO_SPEED_FREQ_LOW;
  HAL_GPIO_Init(GPIOF, &GPIO_InitStruct);

  /*Configure GPIO pin : MIC_SDIN0_Pin */
  GPIO_InitStruct.Pin = MIC_SDIN0_Pin;
  GPIO_InitStruct.Mode = GPIO_MODE_AF_PP;
  GPIO_InitStruct.Pull = GPIO_NOPULL;
  GPIO_InitStruct.Speed = GPIO_SPEED_FREQ_LOW;
  GPIO_InitStruct.Alternate = GPIO_AF6_MDF1;
  HAL_GPIO_Init(MIC_SDIN0_GPIO_Port, &GPIO_InitStruct);

}

/* USER CODE BEGIN 4 */

static void XferCpltCallback(DMA_HandleTypeDef *hdma)
{
    dma_done = 1;
}

/* USER CODE END 4 */

void Error_Handler(void)
{
  /* USER CODE BEGIN Error_Handler_Debug */
  /* User can add his own implementation to report the HAL error return state */
  __disable_irq();
  uart_print("ERROR\r\n");
  while (1)
  {
  }
  /* USER CODE END Error_Handler_Debug */
}
